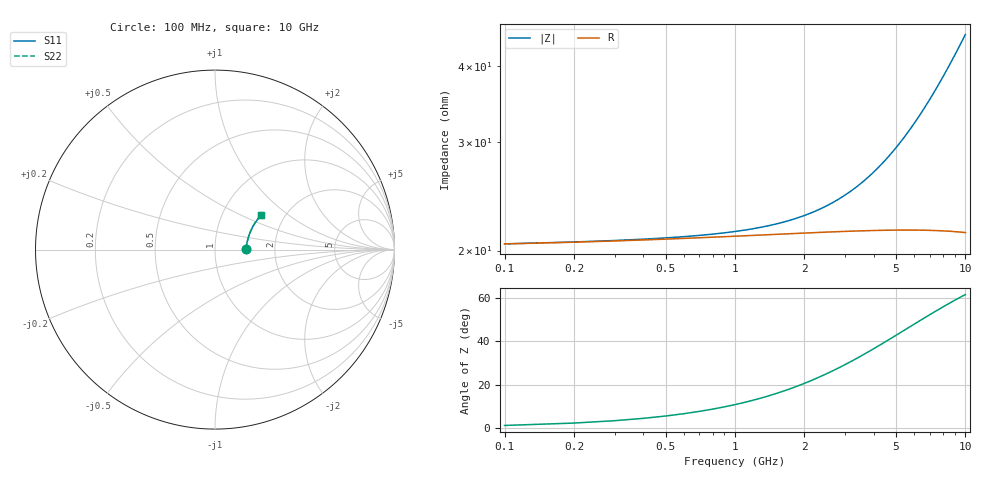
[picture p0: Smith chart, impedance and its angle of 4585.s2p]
# Hz S RI R 50.00
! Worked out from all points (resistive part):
!   100 points, 100 MHz to 10 GHz, reference 50 ohm
!   read as one part in series: R = 20.5 ohm at 100 MHz
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1e8  0.1702 0.00225  0.8298 -0.00325  0.8298 -0.00325  0.1702 0.00225
2e8  0.1711 0.00448  0.8289 -0.00648  0.8289 -0.00648  0.1711 0.00448
3e8  0.1718 0.0067  0.8282 -0.0097  0.8282 -0.0097  0.1718 0.0067
6e8  0.1734 0.0133  0.8265 -0.0193  0.8265 -0.0193  0.1734 0.0133
1e9  0.1752 0.0221  0.8247 -0.0321  0.8247 -0.0321  0.1752 0.0221
1.3e9  0.1765 0.0287  0.8234 -0.0417  0.8234 -0.0417  0.1765 0.0287
1.6e9  0.1778 0.0352  0.8221 -0.0512  0.8221 -0.0512  0.1778 0.0352
1.8e9  0.1787 0.0396  0.8211 -0.0576  0.8211 -0.0576  0.1787 0.0396
2.2e9  0.1806 0.0482  0.8191 -0.0702  0.8191 -0.0702  0.1806 0.0482
2.6e9  0.1827 0.0567  0.8169 -0.0827  0.8169 -0.0827  0.1827 0.0567
3e9  0.185 0.0652  0.8144 -0.0952  0.8144 -0.0952  0.185 0.0652
3.4e9  0.1876 0.0735  0.8118 -0.1076  0.8118 -0.1076  0.1876 0.0735
3.7e9  0.1896 0.0798  0.8096 -0.1168  0.8096 -0.1168  0.1896 0.0798
4.1e9  0.1925 0.088  0.8066 -0.129  0.8066 -0.129  0.1925 0.088
4.6e9  0.1964 0.098  0.8024 -0.1441  0.8024 -0.1441  0.1964 0.098
5.1e9  0.2007 0.1079  0.7978 -0.159  0.7978 -0.159  0.2007 0.1079
5.9e9  0.2083 0.1234  0.7898 -0.1825  0.7898 -0.1825  0.2083 0.1234
6.7e9  0.2166 0.1382  0.7809 -0.2053  0.7809 -0.2053  0.2166 0.1382
7.6e9  0.227 0.1541  0.7698 -0.2303  0.7698 -0.2303  0.227 0.1541
8.4e9  0.237 0.1675  0.7591 -0.2518  0.7591 -0.2518  0.237 0.1675
9.2e9  0.2476 0.1802  0.7477 -0.2725  0.7477 -0.2725  0.2476 0.1802
1e10  0.2589 0.1921  0.7356 -0.2925  0.7356 -0.2925  0.2589 0.1921
